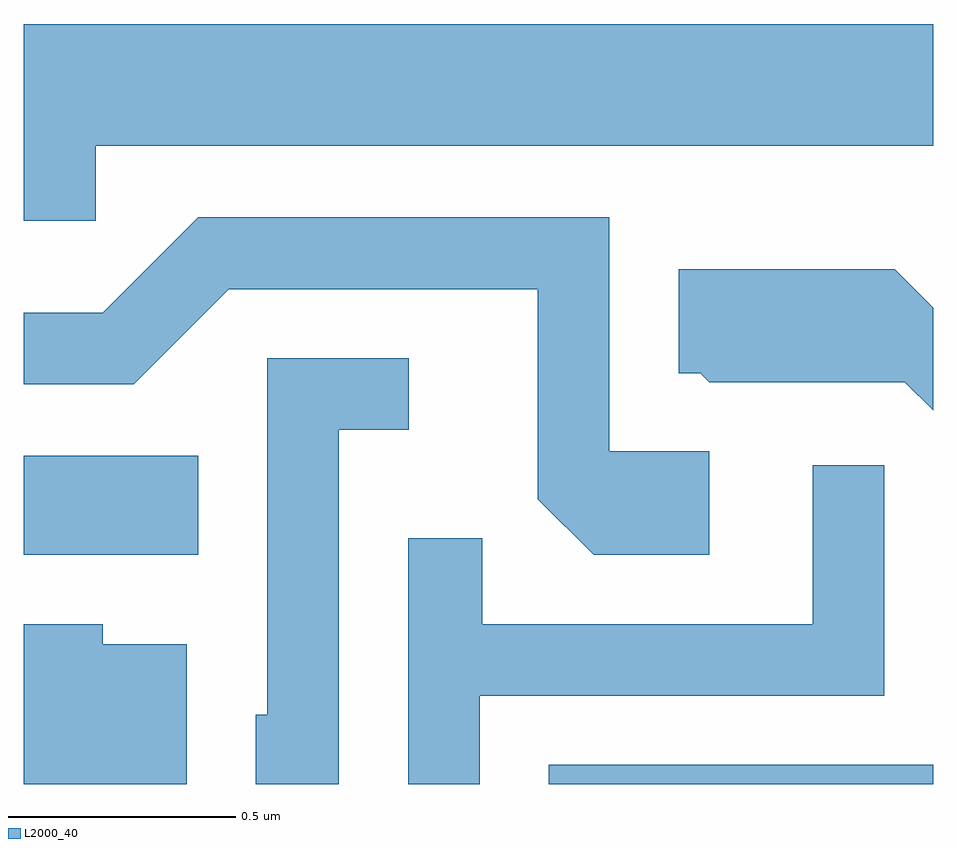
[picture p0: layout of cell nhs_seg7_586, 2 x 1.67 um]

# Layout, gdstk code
import gdstk
lib = gdstk.Library(unit=1e-6, precision=1e-09)
def R(c, l, rs):  # rectangles x0, y0, x1, y1
    for r in rs: c.add(gdstk.rectangle(r[:2], r[2:], *l))
def P(c, l, *ps):  # polygons
    for p in ps: c.add(gdstk.Polygon(p, *l))
L2000_40 = (2000, 40)

nhs_seg7_586 = lib.new_cell('nhs_seg7_586')
R(nhs_seg7_586, L2000_40, [(190.766,1706.252,191.611,1706.294), (189.611,1706.756,189.994,1706.974)])
P(nhs_seg7_586, L2000_40, [(189.769,1707.656),(191.611,1707.656),(191.611,1707.924),(189.611,1707.924),(189.611,1707.491),(189.769,1707.491)],
  [(191.119,1706.984),(190.899,1706.984),(190.899,1707.499),(189.994,1707.499),(189.784,1707.289),(189.611,1707.289),(189.611,1707.131),(189.852,1707.131),(190.062,1707.341),(190.741,1707.341),(190.741,1706.879),(190.864,1706.756),(191.119,1706.756)],
  [(191.611,1707.3),(191.527,1707.384),(191.051,1707.384),(191.051,1707.156),(191.099,1707.156),(191.119,1707.136),(191.549,1707.136),(191.611,1707.074)],
  [(190.304,1707.031),(190.458,1707.031),(190.458,1707.189),(190.146,1707.189),(190.146,1706.404),(190.121,1706.404),(190.121,1706.252),(190.304,1706.252)],
  [(190.614,1706.446),(191.504,1706.446),(191.504,1706.953),(191.346,1706.953),(191.346,1706.604),(190.619,1706.604),(190.619,1706.793),(190.456,1706.793),(190.456,1706.252),(190.614,1706.252)],
  [(189.969,1706.559),(189.784,1706.559),(189.784,1706.604),(189.611,1706.604),(189.611,1706.252),(189.969,1706.252)])

lib.write_gds('nhs_seg7_586.gds')
